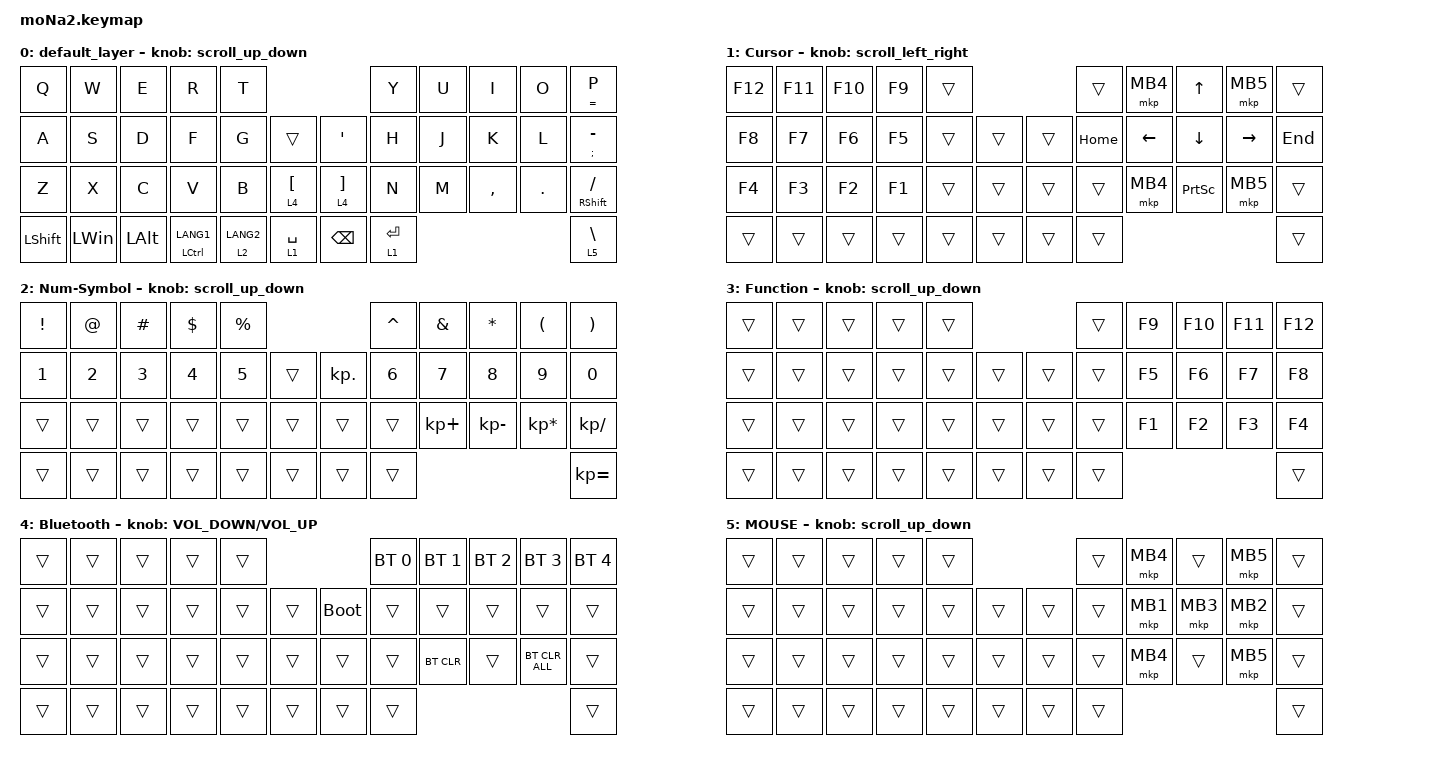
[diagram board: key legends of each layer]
#include <behaviors.dtsi>
#include <dt-bindings/zmk/bt.h>
#include <dt-bindings/zmk/keys.h>
#include <dt-bindings/zmk/pointing.h>

#define ZMK_POINTING_DEFAULT_SCRL_VAL 100
#define MOUSE 6

&mt {
    flavor = "balanced";
    quick-tap-ms = <0>;
};

/ {
    combos {
        compatible = "zmk,combos";

        esc {
            bindings = <&kp ESCAPE>;
            key-positions = <0 1>;
        };

        tab {
            bindings = <&kp TAB>;
            key-positions = <23 24>;
        };

        shift_tab {
            bindings = <&kp LS(TAB)>;
            key-positions = <24 25>;
        };

        grave {
            bindings = <&kp GRAVE>;
            key-positions = <8 9>;
        };
    };

    macros {
        to_layer_0: to_layer_0 {
            compatible = "zmk,behavior-macro-one-param";
            #binding-cells = <1>;
            bindings = <&to 0 &macro_param_1to1 &kp MACRO_PLACEHOLDER>;
            label = "TO_LAYER_0";
        };

        snipping_tool: snipping_tool {
            compatible = "zmk,behavior-macro";
            #binding-cells = <0>;
            bindings = <&kp LEFT_WIN &kp LS(S)>;
            label = "SNIPPING_TOOL";
        };

        close_quote: close_quote {
            compatible = "zmk,behavior-macro";
            #binding-cells = <0>;
            bindings =
                <&kp SINGLE_QUOTE &kp SINGLE_QUOTE &kp LEFT>,
                <&macro_release>;

            label = "CLOSE_QUOTE";
        };
    };

    behaviors {
        lt_to_layer_0: lt_to_layer_0 {
            compatible = "zmk,behavior-hold-tap";
            label = "LAYER_TAP_TO_0";
            bindings = <&mo>, <&to_layer_0>;

            #binding-cells = <2>;
            tapping-term-ms = <200>;
        };

        scroll_up_down: behavior_sensor_rotate_ms_wheel {
            compatible = "zmk,behavior-sensor-rotate";
            #sensor-binding-cells = <0>;
            bindings = <&msc SCRL_DOWN>, <&msc SCRL_UP>;

            tap-ms = <20>;
            label = "scroll";
        };

        scroll_left_right: scroll_left_right {
            compatible = "zmk,behavior-sensor-rotate";
            #sensor-binding-cells = <0>;
            bindings = <&msc SCRL_LEFT>, <&msc SCRL_RIGHT>;

            tap-ms = <20>;
            label = "SCROLL_LEFT_RIGHT";
        };
    };

    keymap {
        compatible = "zmk,keymap";

        default_layer {
            bindings = <
&kp Q           &kp W         &kp E         &kp R            &kp T                                                   &kp Y        &kp U  &kp I      &kp O    &mt EQUAL P
&kp A           &kp S         &kp D         &kp F            &kp G        &trans                &kp SINGLE_QUOTE     &kp H        &kp J  &kp K      &kp L    &mt SEMI MINUS
&kp Z           &kp X         &kp C         &kp V            &kp B        &lt 4 LEFT_BRACKET    &lt 4 RIGHT_BRACKET  &kp N        &kp M  &kp COMMA  &kp DOT  &mt RIGHT_SHIFT FSLH
&kp LEFT_SHIFT  &kp LEFT_WIN  &kp LEFT_ALT  &mt LCTRL LANG1  &lt 2 LANG2  &lt 1 SPACE           &kp BACKSPACE        &lt 1 ENTER                             &lt 5 BACKSLASH
            >;

            sensor-bindings = <&scroll_up_down>;
        };

        Cursor {
            bindings = <
&kp F12  &kp F11  &kp F10  &kp F9  &trans                    &trans    &mkp MB4  &kp UP_ARROW     &mkp MB5   &trans
&kp F8   &kp F7   &kp F6   &kp F5  &trans  &trans    &trans  &kp HOME  &kp LEFT  &kp DOWN_ARROW   &kp RIGHT  &kp END
&kp F4   &kp F3   &kp F2   &kp F1  &trans  &trans    &trans  &trans    &mkp MB4  &kp PRINTSCREEN  &mkp MB5   &trans
&trans   &trans   &trans   &trans  &trans  &trans    &trans  &trans                                          &trans
            >;

            sensor-bindings = <&scroll_left_right>;
        };

        Num-Symbol {
            bindings = <
&kp EXCLAMATION  &kp AT_SIGN  &kp HASH  &kp DOLLAR  &kp PERCENT                        &kp CARET  &kp AMPERSAND  &kp ASTERISK  &kp LEFT_PARENTHESIS  &kp RIGHT_PARENTHESIS
&kp N1           &kp N2       &kp N3    &kp N4      &kp N5       &trans    &kp KP_DOT  &kp N6     &kp N7         &kp N8        &kp N9                &kp N0
&trans           &trans       &trans    &trans      &trans       &trans    &trans      &trans     &kp KP_PLUS    &kp KP_MINUS  &kp KP_ASTERISK       &kp KP_DIVIDE
&trans           &trans       &trans    &trans      &trans       &trans    &trans      &trans                                                        &kp KP_EQUAL
            >;

            sensor-bindings = <&scroll_up_down>;
        };

        Function {
            bindings = <
&trans  &trans  &trans  &trans  &trans                    &trans  &kp F9  &kp F10  &kp F11  &kp F12
&trans  &trans  &trans  &trans  &trans  &trans    &trans  &trans  &kp F5  &kp F6   &kp F7   &kp F8
&trans  &trans  &trans  &trans  &trans  &trans    &trans  &trans  &kp F1  &kp F2   &kp F3   &kp F4
&trans  &trans  &trans  &trans  &trans  &trans    &trans  &trans                            &trans
            >;

            sensor-bindings = <&scroll_up_down>;
        };

        Bluetooth {
            bindings = <
&trans  &trans  &trans  &trans  &trans                         &bt BT_SEL 0  &bt BT_SEL 1  &bt BT_SEL 2  &bt BT_SEL 3    &bt BT_SEL 4
&trans  &trans  &trans  &trans  &trans  &trans    &bootloader  &trans        &trans        &trans        &trans          &trans
&trans  &trans  &trans  &trans  &trans  &trans    &trans       &trans        &bt BT_CLR    &trans        &bt BT_CLR_ALL  &trans
&trans  &trans  &trans  &trans  &trans  &trans    &trans       &trans                                                    &trans
            >;

            sensor-bindings = <&inc_dec_kp C_VOLUME_DOWN C_VOLUME_UP>;
        };

        MOUSE {
            bindings = <
&trans  &trans  &trans  &trans  &trans                    &trans  &mkp MB4  &trans    &mkp MB5  &trans
&trans  &trans  &trans  &trans  &trans  &trans    &trans  &trans  &mkp MB1  &mkp MB3  &mkp MB2  &trans
&trans  &trans  &trans  &trans  &trans  &trans    &trans  &trans  &mkp MB4  &trans    &mkp MB5  &trans
&trans  &trans  &trans  &trans  &trans  &trans    &trans  &trans                                &trans
            >;

            sensor-bindings = <&scroll_up_down>;
        };
    };
};
